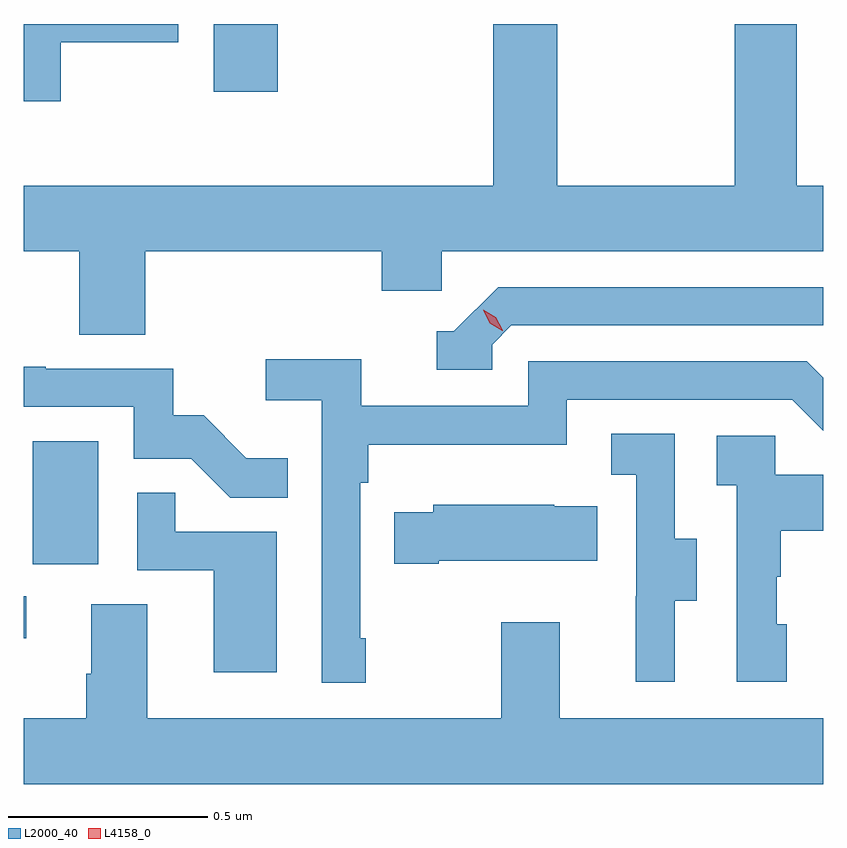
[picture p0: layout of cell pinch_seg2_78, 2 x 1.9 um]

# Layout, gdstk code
import gdstk
lib = gdstk.Library(unit=1e-6, precision=1e-09)
def R(c, l, rs):  # rectangles x0, y0, x1, y1
    for r in rs: c.add(gdstk.rectangle(r[:2], r[2:], *l))
def P(c, l, *ps):  # polygons
    for p in ps: c.add(gdstk.Polygon(p, *l))
L2000_40 = (2000, 40)
L4158_0 = (4158, 0)

pinch_seg2_78 = lib.new_cell('pinch_seg2_78')
R(pinch_seg2_78, L2000_40, [(1045.75,646.668,1045.756,646.773), (1045.772,646.854,1045.936,647.161), (1046.225,648.036,1046.386,648.205)])
P(pinch_seg2_78, L2000_40, [(1047.75,647.8),(1047.684,647.8),(1047.684,648.205),(1047.529,648.205),(1047.529,647.8),(1047.084,647.8),(1047.084,648.205),(1046.924,648.205),(1046.924,647.8),(1045.75,647.8),(1045.75,647.636),(1045.889,647.636),(1045.889,647.428),(1046.054,647.428),(1046.054,647.636),(1046.645,647.636),(1046.645,647.538),(1046.796,647.538),(1046.796,647.636),(1047.75,647.636)],
  [(1045.843,648.159),(1046.136,648.159),(1046.136,648.205),(1045.75,648.205),(1045.75,648.012),(1045.843,648.012)],
  [(1046.922,647.403),(1046.97,647.451),(1047.75,647.451),(1047.75,647.547),(1046.937,647.547),(1046.826,647.436),(1046.783,647.436),(1046.783,647.34),(1046.922,647.34)],
  [(1046.605,646.669),(1046.592,646.669),(1046.592,647.057),(1046.612,647.057),(1046.612,647.153),(1047.108,647.153),(1047.108,647.265),(1047.672,647.265),(1047.75,647.187),(1047.75,647.32),(1047.709,647.361),(1047.012,647.361),(1047.012,647.25),(1046.594,647.25),(1046.594,647.366),(1046.355,647.366),(1046.355,647.264),(1046.496,647.264),(1046.496,646.557),(1046.605,646.557)],
  [(1046.411,647.119),(1046.307,647.119),(1046.2,647.226),(1046.124,647.226),(1046.124,647.343),(1045.805,647.343),(1045.805,647.348),(1045.75,647.348),(1045.75,647.247),(1046.025,647.247),(1046.025,647.118),(1046.169,647.118),(1046.267,647.02),(1046.411,647.02)],
  [(1047.379,646.762),(1047.433,646.762),(1047.433,646.917),(1047.378,646.917),(1047.378,647.18),(1047.219,647.18),(1047.219,647.077),(1047.282,647.077),(1047.282,646.773),(1047.281,646.773),(1047.281,646.56),(1047.379,646.56)],
  [(1047.658,646.704),(1047.633,646.704),(1047.633,646.823),(1047.643,646.823),(1047.643,646.937),(1047.75,646.937),(1047.75,647.077),(1047.63,647.077),(1047.63,647.175),(1047.483,647.175),(1047.483,647.051),(1047.534,647.051),(1047.534,646.56),(1047.658,646.56)],
  [(1046.383,646.935),(1046.129,646.935),(1046.129,647.033),(1046.034,647.033),(1046.034,646.839),(1046.225,646.839),(1046.225,646.584),(1046.383,646.584)],
  [(1046.788,646.862),(1047.185,646.862),(1047.185,646.999),(1047.077,646.999),(1047.077,647.002),(1046.775,647.002),(1046.775,646.984),(1046.677,646.984),(1046.677,646.855),(1046.788,646.855)],
  [(1047.75,646.468),(1047.091,646.468),(1047.091,646.708),(1046.944,646.708),(1046.944,646.468),(1046.059,646.468),(1046.059,646.754),(1045.919,646.754),(1045.919,646.58),(1045.907,646.58),(1045.907,646.468),(1045.75,646.468),(1045.75,646.304),(1047.75,646.304)])
P(pinch_seg2_78, L4158_0, [(1046.947,647.438),(1046.916,647.457),(1046.9,647.49),(1046.9,647.49),(1046.9,647.49),(1046.931,647.471),(1046.948,647.439),(1046.948,647.438)])

lib.write_gds('pinch_seg2_78.gds')
